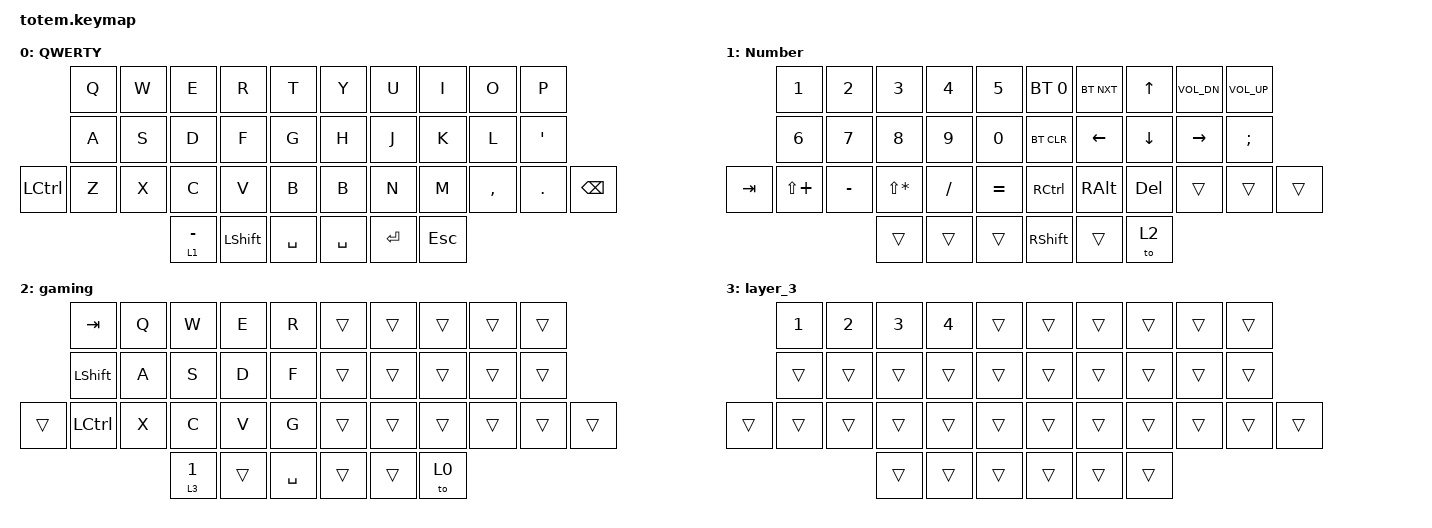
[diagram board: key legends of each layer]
#include <behaviors.dtsi>
#include <dt-bindings/zmk/bt.h>
#include <dt-bindings/zmk/keys.h>

/ {
    keymap {
        compatible = "zmk,keymap";

        QWERTY {
            bindings = <
           &kp Q  &kp W  &kp E        &kp R           &kp T        &kp Y      &kp U      &kp I       &kp O      &kp P
           &kp A  &kp S  &kp D        &kp F           &kp G        &kp H      &kp J      &kp K       &kp L      &kp APOS
&kp LCTRL  &kp Z  &kp X  &kp C        &kp V           &kp B        &kp B      &kp N      &kp M       &kp COMMA  &kp PERIOD  &kp BSPC
                         &lt 1 MINUS  &kp LEFT_SHIFT  &kp SPACE    &kp SPACE  &kp ENTER  &kp ESCAPE
            >;
        };

        Number {
            bindings = <
         &kp N1        &kp N2     &kp N3        &kp N4    &kp N5       &bt BT_SEL 0       &bt BT_NXT     &kp UP_ARROW  &kp C_VOL_DN     &kp C_VOL_UP
         &kp N6        &kp N7     &kp N8        &kp N9    &kp N0       &bt BT_CLR         &kp LEFT       &kp DOWN      &kp RIGHT_ARROW  &kp SEMICOLON
&kp TAB  &kp LS(PLUS)  &kp MINUS  &kp LS(STAR)  &kp FSLH  &kp EQUAL    &kp RIGHT_CONTROL  &kp RIGHT_ALT  &kp DELETE    &trans           &trans         &trans
                                  &trans        &trans    &trans       &kp RIGHT_SHIFT    &trans         &to 2
            >;
        };

        gaming {
            bindings = <
        &kp TAB         &kp Q  &kp W           &kp E   &kp R        &trans  &trans  &trans  &trans  &trans
        &kp LEFT_SHIFT  &kp A  &kp S           &kp D   &kp F        &trans  &trans  &trans  &trans  &trans
&trans  &kp LCTRL       &kp X  &kp C           &kp V   &kp G        &trans  &trans  &trans  &trans  &trans  &trans
                               &lt 3 NUMBER_1  &trans  &kp SPACE    &trans  &trans  &to 0
            >;
        };

        layer_3 {
            bindings = <
        &kp NUMBER_1  &kp NUMBER_2  &kp NUMBER_3  &kp NUMBER_4  &trans    &trans  &trans  &trans  &trans  &trans
        &trans        &trans        &trans        &trans        &trans    &trans  &trans  &trans  &trans  &trans
&trans  &trans        &trans        &trans        &trans        &trans    &trans  &trans  &trans  &trans  &trans  &trans
                                    &trans        &trans        &trans    &trans  &trans  &trans
            >;
        };
    };
};
